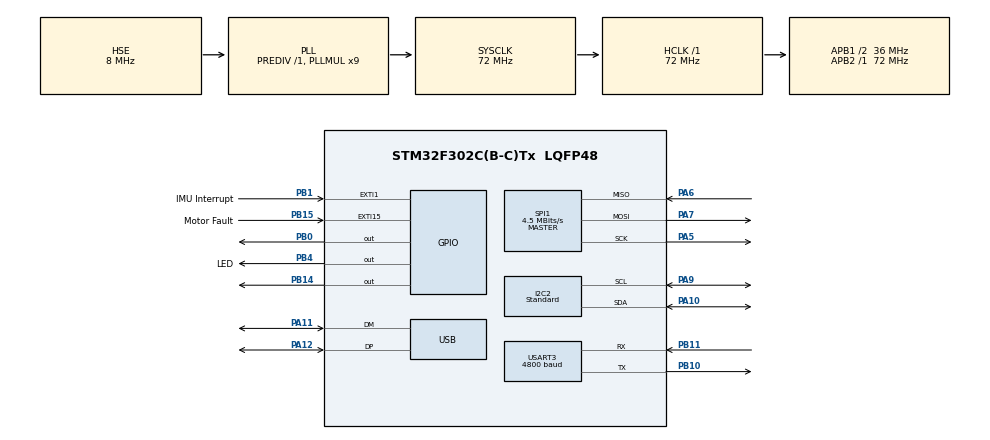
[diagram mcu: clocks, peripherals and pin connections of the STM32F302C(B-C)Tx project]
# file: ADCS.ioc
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I2C2.I2C_Speed_Mode=I2C_Standard
I2C2.Timing=0x00201D2B
Mcu.Family=STM32F3
Mcu.Name=STM32F302C(B-C)Tx
Mcu.Package=LQFP48
NVIC.EXTI15_10_IRQn=true\:0\:0\:false\:false\:true\:true\:true\:true
NVIC.EXTI1_IRQn=true\:0\:0\:true\:false\:true\:true\:true\:true
NVIC.I2C2_EV_IRQn=true\:0\:0\:false\:false\:true\:true\:true\:true
NVIC.PriorityGroup=NVIC_PRIORITYGROUP_2
NVIC.USART3_IRQn=true\:0\:0\:false\:false\:true\:true\:true\:true
NVIC.USB_LP_CAN_RX0_IRQn=true\:0\:0\:false\:false\:true\:false\:true\:true
PA10.GPIO_Mode=GPIO_MODE_AF_OD
PA10.GPIO_Pu=GPIO_NOPULL
PA10.GPIO_Speed=GPIO_SPEED_FREQ_HIGH
PA10.Mode=I2C
PA10.Signal=I2C2_SDA
PA11.Mode=Device
PA11.Signal=USB_DM
PA12.Mode=Device
PA12.Signal=USB_DP
PA13.Mode=Trace_Asynchronous_SW
PA13.Signal=SYS_JTMS-SWDIO
PA14.Mode=Trace_Asynchronous_SW
PA14.Signal=SYS_JTCK-SWCLK
PA5.Mode=Full_Duplex_Master
PA5.Signal=SPI1_SCK
PA6.Mode=Full_Duplex_Master
PA6.Signal=SPI1_MISO
PA7.Mode=Full_Duplex_Master
PA7.Signal=SPI1_MOSI
PA9.GPIO_Mode=GPIO_MODE_AF_OD
PA9.GPIO_Pu=GPIO_NOPULL
PA9.GPIO_Speed=GPIO_SPEED_FREQ_HIGH
PA9.Mode=I2C
PA9.Signal=I2C2_SCL
PB0.GPIO_ModeDefaultOutputPP=GPIO_MODE_OUTPUT_OD
PB0.GPIO_PuPd=GPIO_NOPULL
PB0.GPIO_Speed=GPIO_SPEED_FREQ_HIGH
PB0.PinState=GPIO_PIN_SET
PB0.Signal=GPIO_Output
PB1.GPIO_Label=IMU Interrupt
PB1.Signal=GPXTI1
PB10.Mode=Asynchronous
PB10.Signal=USART3_TX
PB11.Mode=Asynchronous
PB11.Signal=USART3_RX
PB12.Signal=USART3_CK
PB14.Signal=GPIO_Output
PB15.GPIO_Label=Motor Fault
PB15.GPIO_ModeDefaultEXTI=GPIO_MODE_IT_FALLING
PB15.GPIO_PuPd=GPIO_PULLUP
PB15.Signal=GPXTI15
PB3.Mode=Trace_Asynchronous_SW
PB3.Signal=SYS_JTDO-TRACESWO
PB4.GPIO_Label=LED
PB4.Signal=GPIO_Output
PF0-OSC_IN.Mode=HSE-External-Oscillator
PF0-OSC_IN.Signal=RCC_OSC_IN
PF1-OSC_OUT.Mode=HSE-External-Oscillator
PF1-OSC_OUT.Signal=RCC_OSC_OUT
ProjectManager.HeapSize=0x200
ProjectManager.StackSize=0x400
ProjectManager.TargetToolchain=CMake
RCC.AHBFreq_Value=72000000
RCC.APB1CLKDivider=RCC_HCLK_DIV2
RCC.APB1Freq_Value=36000000
RCC.APB1TimFreq_Value=72000000
RCC.APB2Freq_Value=72000000
RCC.APB2TimFreq_Value=72000000
RCC.CortexFreq_Value=72000000
RCC.HCLKFreq_Value=72000000
RCC.HSE_VALUE=8000000
RCC.HSI_VALUE=8000000
RCC.LSE_VALUE=32768
RCC.PLLMUL=RCC_PLL_MUL9
RCC.PRESCALERUSB=RCC_USBCLKSOURCE_PLL_DIV1_5
RCC.SYSCLKFreq_VALUE=72000000
RCC.SYSCLKSourceVirtual=RCC_SYSCLKSOURCE_PLLCLK
RCC.USBFreq_Value=48000000
SPI1.BaudRatePrescaler=SPI_BAUDRATEPRESCALER_16
SPI1.CLKPhase=SPI_PHASE_1EDGE
SPI1.CLKPolarity=SPI_POLARITY_LOW
SPI1.CalculateBaudRate=4.5 MBits/s
SPI1.DataSize=SPI_DATASIZE_8BIT
SPI1.Direction=SPI_DIRECTION_2LINES
SPI1.Mode=SPI_MODE_MASTER
SPI1.NSSPMode=SPI_NSS_PULSE_DISABLE
SPI1.VirtualType=VM_MASTER
USART3.BaudRate=4800
USART3.Parity=PARITY_NONE
USART3.VirtualMode-Asynchronous=VM_ASYNC
USB_DEVICE.CLASS_NAME_FS=CDC
USB_DEVICE.VirtualMode=Cdc
USB_DEVICE.VirtualModeFS=Cdc_FS
VP_USB_DEVICE_VS_USB_DEVICE_CDC_FS.Mode=CDC_FS
board=custom

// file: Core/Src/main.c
/* USER CODE BEGIN Header */
/**
  ******************************************************************************
  * @file           : main.c
  * @brief          : Main program body
  ******************************************************************************
  * @attention
  *
  * Copyright (c) 2025 STMicroelectronics.
  * All rights reserved.
  *
  * This software is licensed under terms that can be found in the LICENSE file
  * in the root directory of this software component.
  * If no LICENSE file comes with this software, it is provided AS-IS.
  *
  ******************************************************************************
  */
/* USER CODE END Header */
#include "main.h"
#include "usb_device.h"

/* USER CODE BEGIN Includes */
#include "MCF8315D.h"
#include "usbd_cdc_if.h"
#include "ism330bx.h"
#include "control_algo.h"
#include "commands.h"
#include "helpers.h"
/* USER CODE END Includes */

/* USER CODE BEGIN PM */
#define USART_RX_BUFFER_SIZE 64
/* USER CODE END PM */

I2C_HandleTypeDef hi2c2;

SPI_HandleTypeDef hspi1;

UART_HandleTypeDef huart3;

/* USER CODE BEGIN PV */
sflp_data_frame_s current_sflp_data;
sflp_data_frame_s new_sflp_data;

extern volatile uint8_t data_received_flag;
extern volatile uint32_t received_data_length;
extern volatile uint8_t received_data_buffer[USB_PACKET_SIZE];

uint8_t usart_cmd[1];
uint8_t usart_rx_payload_buf[USART_RX_BUFFER_SIZE];

static volatile uint8_t motor_fault_pending = 1;

// Need to replace this with proper attitude control structure

/* USER CODE END PV */

void SystemClock_Config(void);
static void MX_GPIO_Init(void);
static void MX_I2C2_Init(void);
static void MX_SPI1_Init(void);
static void MX_USART3_UART_Init(void);
/* USER CODE BEGIN PFP */
static void print_imu_data(sflp_data_frame_s *data);
static uint8_t calculate_checksum(uint8_t *data, uint8_t length);
/* USER CODE END PFP */

int main(void)
{

  /* USER CODE BEGIN 1 */
  // Initialize current attitude quaternion

  /* USER CODE END 1 */

  /* MCU Configuration--------------------------------------------------------*/

  /* Reset of all peripherals, Initializes the Flash interface and the Systick. */
  HAL_Init();

  /* Configure the system clock */
  SystemClock_Config();

  /* Initialize all configured peripherals */
  MX_GPIO_Init();
  MX_I2C2_Init();
  MX_SPI1_Init();
  MX_USART3_UART_Init();
  MX_USB_DEVICE_Init();
  /* USER CODE BEGIN 2 */

  SFLP_INIT(&hspi1);

  HAL_GPIO_WritePin(GPIOB, GPIO_PIN_4, GPIO_PIN_RESET);
  HAL_GPIO_WritePin(GPIOB, GPIO_PIN_14, GPIO_PIN_RESET);
  // Turn on Boost converter
  HAL_GPIO_WritePin(GPIOB, GPIO_PIN_14, GPIO_PIN_SET);
  HAL_GPIO_WritePin(GPIOB, GPIO_PIN_4, GPIO_PIN_SET);
  MCF8315_init(&hi2c2);
  sflp_init_interrupt();

  GPIO_PinState fault_status = HAL_GPIO_ReadPin(GPIOB, Motor_Fault_Pin);

  if (fault_status == GPIO_PIN_RESET) {
    fault_status = GPIO_PIN_SET;
  }

  // Arm USART for commands
  //HAL_UART_Receive_IT(&huart3, usart_cmd, 1);

  /* USER CODE END 2 */

  /* Infinite loop */
  while (1)
  {

    /* USER CODE BEGIN 3 */
    if (motor_fault_pending == 1) {
      MCF8315_handle_fault();
      motor_fault_pending = 0;
    }

    if (data_received_flag) {
        // Process received data

        data_received_flag = 0;
    }
  }
  /* USER CODE END 3 */
}

void SystemClock_Config(void)
{
  RCC_OscInitTypeDef RCC_OscInitStruct = {0};
  RCC_ClkInitTypeDef RCC_ClkInitStruct = {0};
  RCC_PeriphCLKInitTypeDef PeriphClkInit = {0};

  /** Initializes the RCC Oscillators according to the specified parameters
  * in the RCC_OscInitTypeDef structure.
  */
  RCC_OscInitStruct.OscillatorType = RCC_OSCILLATORTYPE_HSI|RCC_OSCILLATORTYPE_HSE;
  RCC_OscInitStruct.HSEState = RCC_HSE_ON;
  RCC_OscInitStruct.HSEPredivValue = RCC_HSE_PREDIV_DIV1;
  RCC_OscInitStruct.HSIState = RCC_HSI_ON;
  RCC_OscInitStruct.HSICalibrationValue = RCC_HSICALIBRATION_DEFAULT;
  RCC_OscInitStruct.PLL.PLLState = RCC_PLL_ON;
  RCC_OscInitStruct.PLL.PLLSource = RCC_PLLSOURCE_HSE;
  RCC_OscInitStruct.PLL.PLLMUL = RCC_PLL_MUL9;
  if (HAL_RCC_OscConfig(&RCC_OscInitStruct) != HAL_OK)
  {
    Error_Handler();
  }

  /** Initializes the CPU, AHB and APB buses clocks
  */
  RCC_ClkInitStruct.ClockType = RCC_CLOCKTYPE_HCLK|RCC_CLOCKTYPE_SYSCLK
                              |RCC_CLOCKTYPE_PCLK1|RCC_CLOCKTYPE_PCLK2;
  RCC_ClkInitStruct.SYSCLKSource = RCC_SYSCLKSOURCE_PLLCLK;
  RCC_ClkInitStruct.AHBCLKDivider = RCC_SYSCLK_DIV1;
  RCC_ClkInitStruct.APB1CLKDivider = RCC_HCLK_DIV2;
  RCC_ClkInitStruct.APB2CLKDivider = RCC_HCLK_DIV1;

  if (HAL_RCC_ClockConfig(&RCC_ClkInitStruct, FLASH_LATENCY_2) != HAL_OK)
  {
    Error_Handler();
  }
  PeriphClkInit.PeriphClockSelection = RCC_PERIPHCLK_USB|RCC_PERIPHCLK_USART3
                              |RCC_PERIPHCLK_I2C2;
  PeriphClkInit.Usart3ClockSelection = RCC_USART3CLKSOURCE_PCLK1;
  PeriphClkInit.I2c2ClockSelection = RCC_I2C2CLKSOURCE_HSI;
  PeriphClkInit.USBClockSelection = RCC_USBCLKSOURCE_PLL_DIV1_5;
  if (HAL_RCCEx_PeriphCLKConfig(&PeriphClkInit) != HAL_OK)
  {
    Error_Handler();
  }
}

static void MX_I2C2_Init(void)
{

  hi2c2.Instance = I2C2;
  hi2c2.Init.Timing = 0x00201D2B;
  hi2c2.Init.OwnAddress1 = 0;
  hi2c2.Init.AddressingMode = I2C_ADDRESSINGMODE_7BIT;
  hi2c2.Init.DualAddressMode = I2C_DUALADDRESS_DISABLE;
  hi2c2.Init.OwnAddress2 = 0;
  hi2c2.Init.OwnAddress2Masks = I2C_OA2_NOMASK;
  hi2c2.Init.GeneralCallMode = I2C_GENERALCALL_DISABLE;
  hi2c2.Init.NoStretchMode = I2C_NOSTRETCH_DISABLE;
  if (HAL_I2C_Init(&hi2c2) != HAL_OK)
  {
    Error_Handler();
  }

  /** Configure Analogue filter
  */
  if (HAL_I2CEx_ConfigAnalogFilter(&hi2c2, I2C_ANALOGFILTER_ENABLE) != HAL_OK)
  {
    Error_Handler();
  }

  /** Configure Digital filter
  */
  if (HAL_I2CEx_ConfigDigitalFilter(&hi2c2, 0) != HAL_OK)
  {
    Error_Handler();
  }

}

static void MX_SPI1_Init(void)
{

  /* SPI1 parameter configuration*/
  hspi1.Instance = SPI1;
  hspi1.Init.Mode = SPI_MODE_MASTER;
  hspi1.Init.Direction = SPI_DIRECTION_2LINES;
  hspi1.Init.DataSize = SPI_DATASIZE_8BIT;
  hspi1.Init.CLKPolarity = SPI_POLARITY_LOW;
  hspi1.Init.CLKPhase = SPI_PHASE_1EDGE;
  hspi1.Init.NSS = SPI_NSS_SOFT;
  hspi1.Init.BaudRatePrescaler = SPI_BAUDRATEPRESCALER_16;
  hspi1.Init.FirstBit = SPI_FIRSTBIT_MSB;
  hspi1.Init.TIMode = SPI_TIMODE_DISABLE;
  hspi1.Init.CRCCalculation = SPI_CRCCALCULATION_DISABLE;
  hspi1.Init.CRCPolynomial = 7;
  hspi1.Init.CRCLength = SPI_CRC_LENGTH_DATASIZE;
  hspi1.Init.NSSPMode = SPI_NSS_PULSE_DISABLE;
  if (HAL_SPI_Init(&hspi1) != HAL_OK)
  {
    Error_Handler();
  }

}

static void MX_USART3_UART_Init(void)
{

  huart3.Instance = USART3;
  huart3.Init.BaudRate = 4800;
  huart3.Init.WordLength = UART_WORDLENGTH_8B;
  huart3.Init.StopBits = UART_STOPBITS_1;
  huart3.Init.Parity = UART_PARITY_NONE;
  huart3.Init.Mode = UART_MODE_TX_RX;
  huart3.Init.HwFlowCtl = UART_HWCONTROL_NONE;
  huart3.Init.OverSampling = UART_OVERSAMPLING_16;
  huart3.Init.OneBitSampling = UART_ONE_BIT_SAMPLE_DISABLE;
  huart3.AdvancedInit.AdvFeatureInit = UART_ADVFEATURE_NO_INIT;
  if (HAL_UART_Init(&huart3) != HAL_OK)
  {
    Error_Handler();
  }

}

static void MX_GPIO_Init(void)
{
  GPIO_InitTypeDef GPIO_InitStruct = {0};

  /* GPIO Ports Clock Enable */
  __HAL_RCC_GPIOF_CLK_ENABLE();
  __HAL_RCC_GPIOA_CLK_ENABLE();
  __HAL_RCC_GPIOB_CLK_ENABLE();

  /*Configure GPIO pin Output Level */
  HAL_GPIO_WritePin(GPIOB, GPIO_PIN_0, GPIO_PIN_SET);

  /*Configure GPIO pin Output Level */
  HAL_GPIO_WritePin(GPIOB, GPIO_PIN_14|LED_Pin, GPIO_PIN_RESET);

  /*Configure GPIO pin : PB0 */
  GPIO_InitStruct.Pin = GPIO_PIN_0;
  GPIO_InitStruct.Mode = GPIO_MODE_OUTPUT_OD;
  GPIO_InitStruct.Pull = GPIO_NOPULL;
  GPIO_InitStruct.Speed = GPIO_SPEED_FREQ_HIGH;
  HAL_GPIO_Init(GPIOB, &GPIO_InitStruct);

  /*Configure GPIO pin : IMU_Interrupt_Pin */
  GPIO_InitStruct.Pin = IMU_Interrupt_Pin;
  GPIO_InitStruct.Mode = GPIO_MODE_IT_RISING;
  GPIO_InitStruct.Pull = GPIO_NOPULL;
  HAL_GPIO_Init(IMU_Interrupt_GPIO_Port, &GPIO_InitStruct);

  /*Configure GPIO pins : PB14 LED_Pin */
  GPIO_InitStruct.Pin = GPIO_PIN_14|LED_Pin;
  GPIO_InitStruct.Mode = GPIO_MODE_OUTPUT_PP;
  GPIO_InitStruct.Pull = GPIO_NOPULL;
  GPIO_InitStruct.Speed = GPIO_SPEED_FREQ_LOW;
  HAL_GPIO_Init(GPIOB, &GPIO_InitStruct);

  /*Configure GPIO pin : Motor_Fault_Pin */
  GPIO_InitStruct.Pin = Motor_Fault_Pin;
  GPIO_InitStruct.Mode = GPIO_MODE_IT_FALLING;
  GPIO_InitStruct.Pull = GPIO_PULLUP;
  HAL_GPIO_Init(Motor_Fault_GPIO_Port, &GPIO_InitStruct);

  /* EXTI interrupt init*/
  HAL_NVIC_SetPriority(EXTI1_IRQn, 0, 0);
  HAL_NVIC_EnableIRQ(EXTI1_IRQn);

  HAL_NVIC_SetPriority(EXTI15_10_IRQn, 0, 0);
  HAL_NVIC_EnableIRQ(EXTI15_10_IRQn);

/* USER CODE BEGIN MX_GPIO_Init_2 */
  HAL_GPIO_WritePin(GPIOB, GPIO_PIN_0, GPIO_PIN_SET);
/* USER CODE END MX_GPIO_Init_2 */
}

/* USER CODE BEGIN 4 */
void HAL_GPIO_EXTI_Callback(uint16_t GPIO_Pin) {
  if (GPIO_Pin == IMU_Interrupt_Pin) {
      // Call IMU data handler
      get_fifo_frame(&new_sflp_data);
      // May need to disable interrupt, but will kep this as the highest priority for now
      memcpy(&current_sflp_data, &new_sflp_data, sizeof(sflp_data_frame_s));

      print_imu_data(&current_sflp_data);

      switch(get_target_type()) {
        float set_speed;
        case ALGO_TARGET_ATTITUDE:
          PID_iteration(current_sflp_data.yaw, &set_speed);
          MCF8315_ramp_speed((int32_t)set_speed);
          break;
        case ALGO_TARGET_SPIN_RATE:
          PID_iteration(current_sflp_data.yaw_rate, &set_speed);
          MCF8315_ramp_speed((int32_t)set_speed);
          break;
        case ALGO_OFF:
          // Do nothing
          break;
        default:
          break;
      }
  } else if (GPIO_Pin == Motor_Fault_Pin) {
      // Handle motor fault
      motor_fault_pending = 1;
  }
}

void HAL_UART_RxCpltCallback(UART_HandleTypeDef *huart) {
  if (huart->Instance == USART3) {
      // Handle received data
      static CMD_e received_cmd = CMD_NONE;
      static uint8_t awaiting_payload = 0;

      if (!awaiting_payload) {
          received_cmd = (CMD_e)usart_cmd[0];

          switch (received_cmd) {
              case CMD_SET_ADCS_MODE:

                HAL_UART_Receive_IT(&huart3, usart_rx_payload_buf, SET_ADCS_MODE_PAYLOAD_SIZE);
                awaiting_payload = 1;

                break;
              case CMD_SET_ADCS_TARGET:

                  HAL_UART_Receive_IT(&huart3, usart_rx_payload_buf, SET_ADCS_TARGET_PAYLOAD_SIZE);
                  awaiting_payload = 1;

                  break;
              case CMD_GET_SAT_ADCS_DATA:

                  // For now, can look to add more things such as temperature in the future
                  uint8_t sensor_data_payload[TELEMETRY_DATA_PAYLOAD_SIZE];

                  float temperature;
                  get_temperature(&temperature);

                  floatToBytes(current_sflp_data.yaw, &sensor_data_payload[0]);
                  floatToBytes(current_sflp_data.yaw_rate, &sensor_data_payload[4]);
                  floatToBytes(temperature, &sensor_data_payload[8]);

                  HAL_UART_Transmit(&huart3, sensor_data_payload, TELEMETRY_DATA_PAYLOAD_SIZE, 1000);

                  HAL_UART_Receive_IT(&huart3, usart_cmd, 1);
                  awaiting_payload = 0;
                  break;
              default:

                  break;
          }
      } else {

          switch (received_cmd) {

              uint8_t response = CMD_RESP_ACK;

              case CMD_SET_ADCS_MODE:

                  algo_target_type_e new_target_type = (algo_target_type_e)usart_rx_payload_buf[0];
                  update_target_type(new_target_type);
                  HAL_UART_Transmit(&huart3, &response, 1, 1000);
                  break;
              case CMD_SET_ADCS_TARGET:

                  float new_target_value;

                  bytesToFloat(usart_rx_payload_buf, &new_target_value);
                  update_target_value(new_target_value);
                  HAL_UART_Transmit(&huart3, &response, 1, 1000);
                  break;
              default:
                  // Should not be here, but just in case
                  break;
          }

          awaiting_payload = 0;
          HAL_UART_Receive_IT(&huart3, usart_cmd, 1);
      }
      HAL_UART_Receive_IT(&huart3, usart_cmd, 1);
  }
}

static void print_imu_data(sflp_data_frame_s *data) {

  char print_buffer[355];
  char section_break[] = "-------------------\n\r";

  uint16_t print_buffer_index = snprintf(print_buffer, sizeof(print_buffer), "Game rotation vector:\n\rX: %.4f\n\rY: %.4f\n\rZ: %.4f\n\rScalar: %.4f\n\r%s\n\r",
                                data->game_rotation.x,
                                data->game_rotation.y,
                                data->game_rotation.z,
                                data->game_rotation.w,
                                section_break);

  print_buffer_index += snprintf(print_buffer + print_buffer_index, sizeof(print_buffer) - print_buffer_index, "Gyroscope data:\n\rX: %.4f\n\rY: %.4f\n\rZ: %.4f\n\r%s\n\r",
                                data->gyroscope.pitch,
                                data->gyroscope.roll,
                                data->gyroscope.yaw,
                                section_break);

  print_buffer_index += snprintf(print_buffer + print_buffer_index, sizeof(print_buffer) - print_buffer_index, "Accelerometer data:\n\rX: %.4f\n\rY: %.4f\n\rZ: %.4f\n\r%s\n\r",
                                data->accelerometer.x,
                                data->accelerometer.y,
                                data->accelerometer.z,
                                section_break);

  print_buffer_index += snprintf(print_buffer + print_buffer_index, sizeof(print_buffer) - print_buffer_index, "Yaw is: %.4f radians \n\r%s\n\r", data->yaw, section_break);

  CDC_Transmit_FS(print_buffer, sizeof(print_buffer));
}

static void send_IMU_data(void) {
  USB_Packet_u IMU_packet = {
    .packet.start_byte = 0xAA,
    .packet.type = 0x01, // IMU data type
    .packet.length = IMU_PACKET_SIZE,
    .packet.payload = {0},
    .packet.checksum = 0,
    .packet.end_byte = 0x55
  };

  memcpy(IMU_packet.packet.payload, &current_sflp_data, IMU_PACKET_SIZE);

  IMU_packet.packet.checksum = calculate_checksum(IMU_packet.packet.payload, IMU_PACKET_SIZE);

  CDC_Transmit_FS(IMU_packet.buffer, sizeof(IMU_packet));
}

static uint8_t calculate_checksum(uint8_t *data, uint8_t length) {
  uint8_t checksum = 0;
  for(uint8_t i = 0; i < length; i++) {
    checksum += data[i];
  }
  return checksum;
}
/* USER CODE END 4 */

void Error_Handler(void)
{
  __disable_irq();
  while (1)
  {
  }
}
